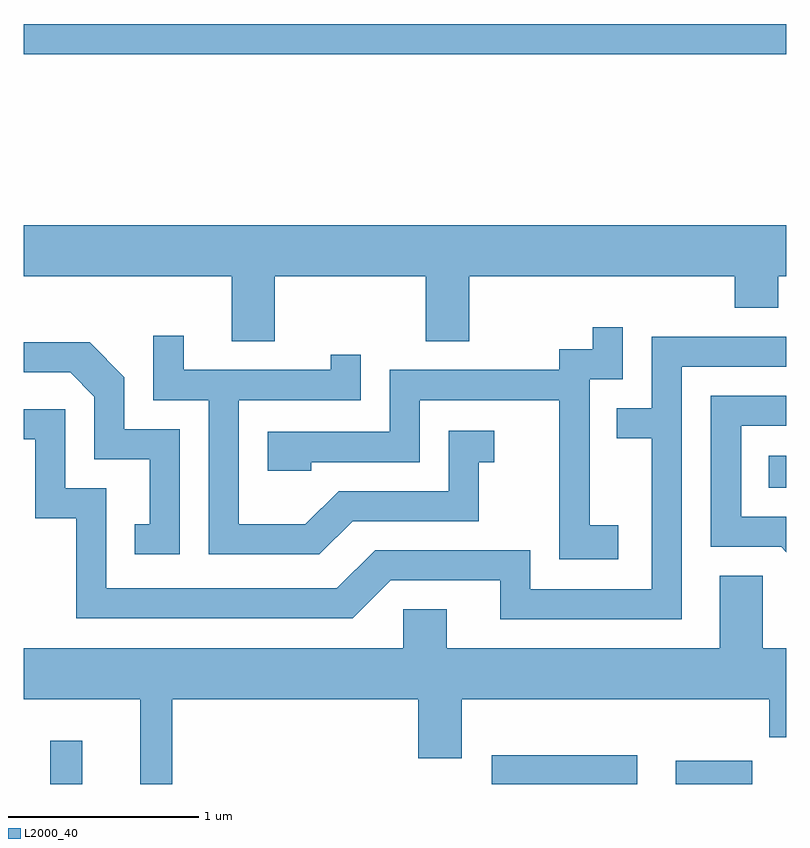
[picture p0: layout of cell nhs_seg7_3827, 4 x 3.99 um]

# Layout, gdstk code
import gdstk
lib = gdstk.Library(unit=1e-6, precision=1e-09)
def R(c, l, rs):  # rectangles x0, y0, x1, y1
    for r in rs: c.add(gdstk.rectangle(r[:2], r[2:], *l))
def P(c, l, *ps):  # polygons
    for p in ps: c.add(gdstk.Polygon(p, *l))
L2000_40 = (2000, 40)

nhs_seg7_3827 = lib.new_cell('nhs_seg7_3827')
R(nhs_seg7_3827, L2000_40, [(301.751,1778.252,301.919,1778.478), (304.066,1778.252,304.829,1778.404), (305.031,1778.252,305.434,1778.374), (305.518,1779.806,305.611,1779.974), (301.611,1782.081,305.611,1782.239)])
P(nhs_seg7_3827, L2000_40, [(302.929,1780.916),(303.721,1780.916),(303.721,1780.576),(303.949,1780.576),(303.949,1780.916),(305.341,1780.916),(305.341,1780.751),(305.569,1780.751),(305.569,1780.916),(305.611,1780.916),(305.611,1781.184),(301.611,1781.184),(301.611,1780.916),(302.701,1780.916),(302.701,1780.576),(302.929,1780.576)],
  [(304.729,1779.609),(304.579,1779.609),(304.579,1780.376),(304.754,1780.376),(304.754,1780.648),(304.596,1780.648),(304.596,1780.534),(304.421,1780.534),(304.421,1780.424),(303.531,1780.424),(303.531,1780.099),(302.891,1780.099),(302.891,1779.896),(303.119,1779.896),(303.119,1779.941),(303.689,1779.941),(303.689,1780.266),(304.421,1780.266),(304.421,1779.431),(304.729,1779.431)],
  [(303.337,1779.631),(303.999,1779.631),(303.999,1779.941),(304.078,1779.941),(304.078,1780.104),(303.841,1780.104),(303.841,1779.789),(303.264,1779.789),(303.089,1779.614),(302.739,1779.614),(302.739,1780.266),(303.379,1780.266),(303.379,1780.503),(303.221,1780.503),(303.221,1780.424),(302.449,1780.424),(302.449,1780.603),(302.291,1780.603),(302.291,1780.266),(302.581,1780.266),(302.581,1779.456),(303.162,1779.456)],
  [(305.064,1780.441),(305.611,1780.441),(305.611,1780.599),(304.906,1780.599),(304.906,1780.224),(304.723,1780.224),(304.723,1780.066),(304.906,1780.066),(304.906,1779.274),(304.269,1779.274),(304.269,1779.479),(303.454,1779.479),(303.254,1779.279),(302.044,1779.279),(302.044,1779.804),(301.829,1779.804),(301.829,1780.219),(301.611,1780.219),(301.611,1780.061),(301.671,1780.061),(301.671,1779.646),(301.886,1779.646),(301.886,1779.121),(303.337,1779.121),(303.537,1779.321),(304.111,1779.321),(304.111,1779.116),(305.064,1779.116)],
  [(302.429,1780.114),(302.139,1780.114),(302.139,1780.387),(301.957,1780.569),(301.611,1780.569),(301.611,1780.411),(301.854,1780.411),(301.981,1780.284),(301.981,1779.956),(302.271,1779.956),(302.271,1779.614),(302.193,1779.614),(302.193,1779.456),(302.429,1779.456)],
  [(305.611,1779.654),(305.374,1779.654),(305.374,1780.131),(305.611,1780.131),(305.611,1780.289),(305.216,1780.289),(305.216,1779.496),(305.584,1779.496),(305.611,1779.469)],
  [(302.389,1778.696),(303.681,1778.696),(303.681,1778.386),(303.909,1778.386),(303.909,1778.696),(305.521,1778.696),(305.521,1778.496),(305.611,1778.496),(305.611,1778.964),(305.489,1778.964),(305.489,1779.344),(305.261,1779.344),(305.261,1778.964),(303.829,1778.964),(303.829,1779.169),(303.601,1779.169),(303.601,1778.964),(301.611,1778.964),(301.611,1778.696),(302.221,1778.696),(302.221,1778.252),(302.389,1778.252)])

lib.write_gds('nhs_seg7_3827.gds')
